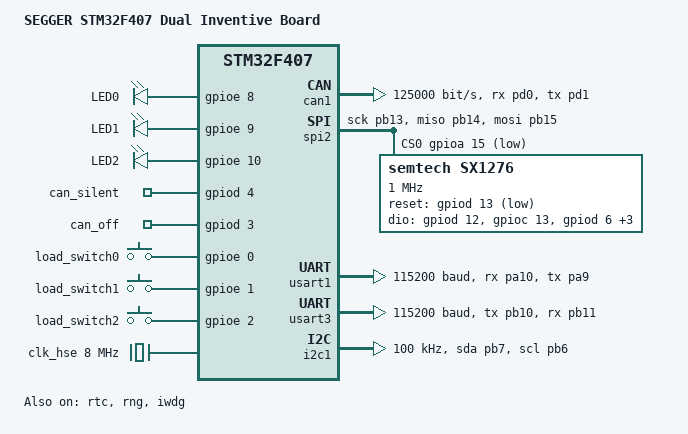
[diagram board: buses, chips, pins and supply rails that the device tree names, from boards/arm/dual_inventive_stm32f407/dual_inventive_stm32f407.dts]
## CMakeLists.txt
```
# SPDX-License-Identifier: Apache-2.0

cmake_minimum_required(VERSION 3.20.0)
find_package(Zephyr REQUIRED HINTS $ENV{ZEPHYR_BASE})
message(STATUS "Zephyr base: $ENV{ZEPHYR_BASE}")
message(STATUS "current source dir: ${CMAKE_CURRENT_SOURCE_DIR}")

project(unit_test_prototype)
include_directories(${CMAKE_CURRENT_SOURCE_DIR}/../inc)
include_directories(${CMAKE_CURRENT_SOURCE_DIR}/mocks)


target_sources(app PRIVATE src/main.c
                src/gsm_driver_mock.c
                ${CMAKE_CURRENT_SOURCE_DIR}/../src/heartbeat_handler.c
                ${CMAKE_CURRENT_SOURCE_DIR}/../src/node.c
)
```

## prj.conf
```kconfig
CONFIG_ZTEST=y
CONFIG_UART_NATIVE_POSIX=y
CONFIG_ZTEST_NEW_API=y
CONFIG_NATIVE_UART_0_ON_STDINOUT=y
CONFIG_UART_NATIVE_TTY=y
# Enable Serial
CONFIG_PRINTK=y
CONFIG_SERIAL=y
CONFIG_CONSOLE=y
CONFIG_GPIO=y
CONFIG_ENTROPY_GENERATOR=y
CONFIG_JSON_LIBRARY=y
# Serial communicaton
CONFIG_UART_CONSOLE=y
CONFIG_UART_LINE_CTRL=y
# CONFIG_UART_INTERRUPT_DRIVEN=y
CONFIG_CONSOLE_SUBSYS=y

CONFIG_LOG=y
CONFIG_LOG_PRINTK=y

CONFIG_SYSTEM_WORKQUEUE_STACK_SIZE=2048
```

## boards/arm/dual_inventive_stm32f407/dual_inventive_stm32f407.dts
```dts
/dts-v1/;
#include <st/f4/stm32f407Xg.dtsi>
#include <st/f4/stm32f407v(e-g)tx-pinctrl.dtsi>

/ {
	model = "SEGGER STM32F407 Dual Inventive Board";
	compatible = "vention,dual_inventive_stm32f407";

	chosen {
		zephyr,console = &usart3;
		zephyr,sram = &sram0;
		zephyr,flash = &flash0;
		zephyr,ccm = &ccm0;
		zephyr,canbus = &can1;
		zephyr,spi = &spi2;
	};

	aliases {
		led0 = &led_0_red;
		led1 = &led_1_green;
		led2 = &led_2_blue;
		cansilent = &can_silent;
		canoff = &can_off;
		loadswitch0 = &load_switch0;
		loadswitch1 = &load_switch1;
		loadswitch2 = &load_switch2;
		watchdog0 = &iwdg;
		uart1 = &usart1;
		uart3 = &usart3;
		i2c1 = &i2c1;
		lora0 = &lora;
	};

	leds {
		compatible = "gpio-leds";
		led_0_red: led_0_red {
			gpios = <&gpioe 8 GPIO_ACTIVE_HIGH>;
			label = "LED0";
		};
		led_1_green: led_1_green {
			gpios = <&gpioe 9 GPIO_ACTIVE_HIGH>;
			label = "LED1";
		};
		led_2_blue: led_2_blue {
			gpios = <&gpioe 10 GPIO_ACTIVE_HIGH>;
			label = "LED2";
		};
	};

	gpios {
		compatible = "gpio-keys";
		can_silent: can_silent {
			gpios = <&gpiod 4 GPIO_ACTIVE_HIGH>;
		};
		can_off: can_off {
			gpios = <&gpiod 3 GPIO_ACTIVE_HIGH>;
		};
		load_switch0: load_switch0 {
			gpios = <&gpioe 0 GPIO_ACTIVE_HIGH>;
		};
		load_switch1: load_switch1 {
			gpios = <&gpioe 1 GPIO_ACTIVE_HIGH>;
		};
		load_switch2: load_switch2 {
			gpios = <&gpioe 2 GPIO_ACTIVE_HIGH>;
		};
	};
};

&clk_hse {
	clock-frequency = <DT_FREQ_M(8)>;
	status = "okay";
};

&pll {
	div-m = <8>;
	mul-n = <336>;
	div-p = <2>;
	div-q = <7>;
	clocks = <&clk_hse>;
	status = "okay";
};

&rcc {
	clocks = <&pll>;
	clock-frequency = <DT_FREQ_M(168)>;
	ahb-prescaler = <1>;
	apb1-prescaler = <4>;
	apb2-prescaler = <2>;
};

&rtc {
	status = "okay";
};

&rng {
	status = "okay";
};

&iwdg {
	status = "okay";
};

&can1 {
	status = "okay";
	pinctrl-names = "default";
	pinctrl-0 = <&can1_rx_pd0 &can1_tx_pd1>;
	bus-speed = <125000>;
};

&spi2 {
	status = "okay";
	pinctrl-0 = <&spi2_sck_pb13 &spi2_miso_pb14 &spi2_mosi_pb15>;
	pinctrl-names = "default";
	cs-gpios = <&gpioa 15 GPIO_ACTIVE_LOW>;
	lora: lora@0 {
		compatible = "semtech,sx1276";
		status = "okay";
		reg = <0>;
		spi-max-frequency = <1000000>;
		label = "sx1276";
		reset-gpios = <&gpiod 13 (GPIO_ACTIVE_LOW)>;
		dio-gpios = <&gpiod 12 (GPIO_PULL_DOWN | GPIO_ACTIVE_HIGH)>,
					<&gpioc 13 (GPIO_PULL_DOWN | GPIO_ACTIVE_HIGH)>,
					<&gpiod 6 (GPIO_PULL_DOWN | GPIO_ACTIVE_HIGH)>,
					<&gpiod 5 (GPIO_PULL_DOWN | GPIO_ACTIVE_HIGH)>,
					<&gpioa 12 (GPIO_PULL_DOWN | GPIO_ACTIVE_HIGH)>,
					<&gpioa 11 (GPIO_PULL_DOWN | GPIO_ACTIVE_HIGH)>;
		power-amplifier-output = "pa-boost";
		tcxo-power-startup-delay-ms = <5>;
	};
};

&dma1 {
	status = "okay";
};

&usart1 {
	status = "okay";
	current-speed = <115200>;
	pinctrl-0 = <&usart1_rx_pa10 &usart1_tx_pa9 >;
	pinctrl-names = "default";
};

&usart3 {
	status = "okay";
	current-speed = <115200>;
	pinctrl-0 = <&usart3_tx_pb10 &usart3_rx_pb11>;
	pinctrl-names = "default";
};

&i2c1 {	
	status = "okay";
	pinctrl-0 = <&i2c1_sda_pb7 &i2c1_scl_pb6>;
	pinctrl-names = "default";
	clock-frequency = < I2C_BITRATE_STANDARD >;
};
```

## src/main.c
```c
/*
 * Copyright (c) 2016 Intel Corporation
 *
 * SPDX-License-Identifier: Apache-2.0
 */

#include <zephyr/ztest.h>
#include <zephyr/drivers/uart.h>
#include <ctype.h>
#include "heartbeat_handler.h"
#include "mocks.h"
int mock_signal_strength = 0;


bool validate_uuid_format(const char *uuid_str) {
    // Check length
    if (strlen(uuid_str) != 36) {
        return false;
    }

    // Check positions of hyphens
    if (uuid_str[8] != '-' || uuid_str[13] != '-' || uuid_str[18] != '-' || uuid_str[23] != '-') {
        return false;
    }

    // Check version field (position 14 should be '6' for UUIDv6)
    if (uuid_str[14] != '6') {
        return false;
    }

    // Check that all other characters are hex digits
    for (int i = 0; i < 36; i++) {
        if ((i == 8) || (i == 13) || (i == 18) || (i == 23)) {
            continue;
        }
        if (!isxdigit(uuid_str[i])) {
            return false;
        }
    }

    return true;
}
/* Test suite definition using ZTEST macro */

ZTEST_SUITE(node_tests, NULL, NULL, NULL, NULL, NULL);
ZTEST_SUITE(heartbeat_tests, NULL, NULL, NULL, NULL, NULL);

ZTEST(node_tests, test_create_node_id) {
    struct node node;
    node.status = true;

    // Call the function to test
    generate_id(&node.id);

    // Validate the UUID bytes (check only the version field here)
    uint8_t version_field = (node.id.uuid[6] & 0xF0) >> 4;


    zassert_equal(version_field, 6, "UUID version field is incorrect");



    // Print the generated UUID for manual inspection
}

ZTEST(node_tests, test_uuid_to_str) {
    struct node node;
    node.status = true;
    generate_id(&node.id);

    char uuid_str[UUID_STR_LEN];
    uuid_to_str(&node.id, uuid_str, UUID_STR_LEN);
    node.id.str = uuid_str;
    printk("Generated UUIDv6: %s\n", node.id.str);

    // Validate the UUID string format
    bool valid = validate_uuid_format(uuid_str);
    zassert_true(valid, "UUID string format is incorrect");

}

ZTEST(heartbeat_tests, test_create_heartbeat_json) {
    struct node node;
    node.status = true;
    generate_id(&node.id);

    char uuid_str[UUID_STR_LEN];
    uuid_to_str(&node.id, uuid_str, UUID_STR_LEN);
    node.id.str = uuid_str;

    char* json_string = create_heartbeat_json(&node);
    printk("Generated JSON: %s\n", json_string);

    // Validate the JSON string format
    zassert_not_null(json_string, "JSON string is NULL");
    zassert_true(strlen(json_string) > 0, "JSON string is empty");

}

/* Test suite for gsm_driver_init() function */

// ZTEST_SUITE(send_heartbeat_test, NULL, NULL, NULL, NULL, NULL);





ZTEST(heartbeat_tests, test_signal_strength_below_threshold){
     struct node node;
    node.status = true;
    generate_id(&node.id);

    char uuid_str[UUID_STR_LEN];
    uuid_to_str(&node.id, uuid_str, UUID_STR_LEN);
    node.id.str = uuid_str;
    mock_signal_strength = LOW_SIGNAL_THRESHOLD - 1;
    int result = send_heartbeat(&node);
    zassert_equal(result, 0, "send_heartbeat() did not return 0");
}

ZTEST(heartbeat_tests, test_signal_strength_above_threshold){
     struct node node;
    node.status = true;
    generate_id(&node.id);

    char uuid_str[UUID_STR_LEN];
    uuid_to_str(&node.id, uuid_str, UUID_STR_LEN);
    node.id.str = uuid_str;
    mock_signal_strength = LOW_SIGNAL_THRESHOLD + 1;
    int result = send_heartbeat(&node);
    zassert_equal(result, 1, "send_heartbeat() did not return 1");
}

ZTEST(heartbeat_tests, test_signal_strength_not_known){
     struct node node;
    node.status = true;
    generate_id(&node.id);

    char uuid_str[UUID_STR_LEN];
    uuid_to_str(&node.id, uuid_str, UUID_STR_LEN);
    node.id.str = uuid_str;

    mock_signal_strength = NOT_KNOWN;
    int result = send_heartbeat(&node);
    zassert_equal(result, 0, "send_heartbeat() did not return 0");
}
```
